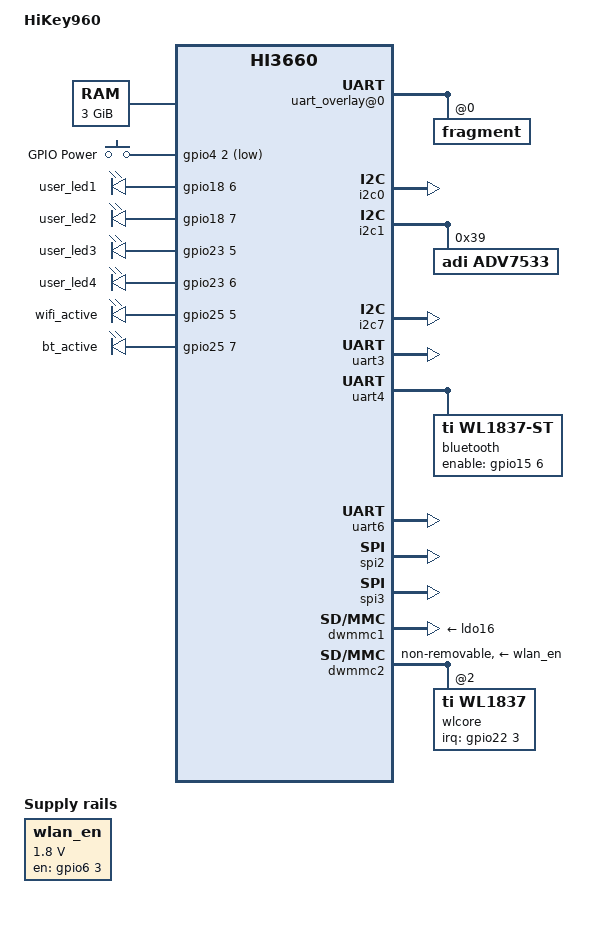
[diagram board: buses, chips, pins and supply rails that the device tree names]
/*
 * dts file for Hisilicon HiKey960 Development Board
 *
 * Copyright (C) 2016, Hisilicon Ltd.
 *
 */

/*
 *
 * Modifications made by Cadence Design Systems, Inc.  06/21/2017
 * Copyright (C) 2017 Cadence Design Systems, Inc.All rights reserved worldwide.
 *
 */

/dts-v1/;

#include "hi3660.dtsi"
#include "hikey960-pinctrl.dtsi"
#include "hi3660-gpu.dtsi"
#include "hisi_3660_ipc.dtsi"

#include <dt-bindings/gpio/gpio.h>
#include <dt-bindings/input/input.h>
#include <dt-bindings/interrupt-controller/irq.h>
#include "hi3660-drm.dtsi"
#include "hi3660-ion.dtsi"

/ {
	model = "HiKey960";
	compatible = "hisilicon,hi3660-hikey960", "hisilicon,hi3660";

	aliases {
		mshc1 = &dwmmc1;
		mshc2 = &dwmmc2;
		serial0 = &uart0;
		serial1 = &uart1;
		serial2 = &uart2;
		serial3 = &uart3;
		serial4 = &uart4;
		serial5 = &uart5;
		serial6 = &uart6;
	};

	chosen {
		stdout-path = "serial6:115200n8";
	};

	fiq-debugger {
		compatible = "android,irq-hi6220-uart";
		reg = <0x0 0xfff32000 0x0 0x1000>;
		interrupts = <GIC_SPI 79 IRQ_TYPE_LEVEL_HIGH>;
		interrupt-names = "fiq", "signal";
	};

	uart_overlay@0 {
		fragment@0 {
			target-path="/soc/serial@fff32000";
			__overlay__ {
				status = "disabled";
			};
		};
	};

	overlay_mgr {
		compatible = "linux,overlay_manager";
		hardware_cfg_spidev0 {
			overlay_0 {
				fragment@0 {
					target-path="/soc/spi@ffd68000/spidev@0";
					__overlay__ {
						status = "ok";
					};
				};
			};
		};
		hardware_cfg_neonkey {
			overlay_0 {
				fragment@0 {
					target-path="/soc/spi@ffd68000/sensorhub@0";
					__overlay__ {
						status = "ok";
					};
				};
			};
		};
		hardware_cfg_argonkey {
			overlay_0 {
				fragment@0 {
					target-path="/soc/spi@ffd68000/argonkey@0";
					__overlay__ {
						status = "ok";
					};
				};
			};
		};
		hardware_cfg_disable_bt {
			overlay_0 {
				fragment@0 {
					target-path="/soc/serial@fdf01000/bluetooth";
					__overlay__ {
						status = "disabled";
					};
				};
			};
		};
	};

	memory@0 {
		device_type = "memory";
		reg = <0x0 0x00400000 0x0 0xBFE00000>;
	};

	reserved-memory {
		#address-cells = <2>;
		#size-cells = <2>;
		ranges;

		fastboot_cma: fastboot-cma-mem {
			reg = <0x0 0x16c00000 0x0 0x4000000>;
			compatible = "shared-dma-pool";
			hisi,cma-sec;
			reusable;
		};

		uefi-reboot-mode {
			reg = <0x0 0x32100000 0x0 0x00001000>;
			no-map;
		};

		bl31 {
			reg = <0x0 0x20200000 0x0 0x200000>;
			no-map;
		};

		ramoops: ramoops@20A00000 {
			compatible = "ramoops";
			reg = <0x0 0x20A00000 0x0 0x00100000>;  /* pstore/ramoops buffer */
			record-size	= <0x00020000>;
			console-size	= <0x00020000>;
			ftrace-size	= <0x00020000>;
		};

		hifi-base {
			reg = <0x0 0x89200000 0x0 0x980000>;
			no-map;
		};

		lpmx-core {
			reg = <0x0 0x89b80000 0x0 0x100000>;
			no-map;
		};

		lpmcu {
			reg = <0x0 0x89c80000 0x0 0x40000>;
			no-map;
		};

		hifi-data {
			reg = <0x0 0x8B300000 0x0 0x380000>;
			no-map;
		};
	};

	reboot-mode-syscon@32100000 {
		compatible = "syscon", "simple-mfd";
		reg = <0x0 0x32100000 0x0 0x00001000>;

		reboot-mode {
			compatible = "syscon-reboot-mode";
			offset = <0x0>;

			mode-normal	= <0x77665501>;
			mode-bootloader	= <0x77665500>;
			mode-recovery	= <0x77665502>;
		};
	};


	pclk: apb_pclk {
		compatible = "fixed-clock";
		#clock-cells = <0>;
		clock-frequency = <20000000>;
		clock-output-names = "apb_pclk";
	};

	hifidsp {
		compatible = "hisilicon,k3hifidsp";
	};

	keys {
		compatible = "gpio-keys";
		pinctrl-names = "default";
		pinctrl-0 = <&pwr_key_pmx_func &pwr_key_cfg_func>;

		power {
			wakeup-source;
			gpios = <&gpio4 2 GPIO_ACTIVE_LOW>;
			label = "GPIO Power";
			linux,code = <KEY_POWER>;
		};
	};

	leds {
		compatible = "gpio-leds";

		user_led1 {
			label = "user_led1";
			/* gpio_150_user_led1 */
			gpios = <&gpio18 6 0>;
			linux,default-trigger = "heartbeat";
		};

		user_led2 {
			label = "user_led2";
			/* gpio_151_user_led2 */
			gpios = <&gpio18 7 0>;
			linux,default-trigger = "mmc0";
		};

		user_led3 {
			label = "user_led3";
			/* gpio_189_user_led3 */
			gpios = <&gpio23 5 0>;
			default-state = "off";
		};

		user_led4 {
			label = "user_led4";
			/* gpio_190_user_led4 */
			gpios = <&gpio23 6 0>;
			linux,default-trigger = "cpu0";
		};

		wlan_active_led {
			label = "wifi_active";
			/* gpio_205_wifi_active */
			gpios = <&gpio25 5 0>;
			linux,default-trigger = "phy0tx";
			default-state = "off";
		};

		bt_active_led {
			label = "bt_active";
			gpios = <&gpio25 7 0>;
			/* gpio_207_user_led1 */
			linux,default-trigger = "hci0rx";
			default-state = "off";
		};
	};

	pmic: pmic@fff34000 {
		compatible = "hisilicon,hi6421v530-pmic";
		reg = <0x0 0xfff34000 0x0 0x1000>;
		interrupt-controller;
		#interrupt-cells = <2>;

		regulators {
			ldo3: LDO3 { /* HDMI */
				regulator-name = "VOUT3_1V85";
				regulator-min-microvolt = <1800000>;
				regulator-max-microvolt = <2200000>;
				regulator-always-on;
				regulator-enable-ramp-delay = <120>;
			};

			ldo9: LDO9 { /* SDCARD I/O */
				regulator-name = "VOUT9_1V8_2V95";
				regulator-min-microvolt = <1750000>;
				regulator-max-microvolt = <3300000>;
				regulator-enable-ramp-delay = <240>;
			};

			ldo11: LDO11 { /* Low Speed Connector */
				regulator-name = "VOUT11_1V8_2V95";
				regulator-min-microvolt = <1750000>;
				regulator-max-microvolt = <3300000>;
				regulator-enable-ramp-delay = <240>;
			};

			ldo15: LDO15 { /* UFS VCC */
				regulator-name = "VOUT15_3V0";
				regulator-min-microvolt = <1750000>;
				regulator-max-microvolt = <3000000>;
				regulator-boot-on;
				regulator-always-on;
				regulator-enable-ramp-delay = <120>;
			};

			ldo16: LDO16 { /* SD VDD */
				regulator-name = "VOUT16_2V95";
				regulator-min-microvolt = <1750000>;
				regulator-max-microvolt = <3000000>;
				regulator-enable-ramp-delay = <360>;
			};
		};
	};

	wlan_en: wlan-en-1-8v {
		compatible = "regulator-fixed";
		regulator-name = "wlan-en-regulator";
		regulator-min-microvolt = <1800000>;
		regulator-max-microvolt = <1800000>;

		/* GPIO_051_WIFI_EN */
		gpio = <&gpio6 3 0>;

		/* WLAN card specific delay */
		startup-delay-us = <70000>;
		enable-active-high;
	};

	smmu {
		compatible = "hisi,hisi-smmu";
		phy_pgd_base = <0x0 0x34A78000>;
	};

	smmu_lpae {
		compatible = "hisi,hisi-smmu-lpae";
		status = "ok";
	};

	/* bluetooth - TI WL1837 */
	kim {
		compatible = "kim";
		/*
		 * FIXME: The following is complete CRAP since
		 * the vendor driver doesn't follow the gpio
		 * binding. Passing in a magic Linux gpio number
		 * here until we fix the vendor driver.
		 */
		/* BT_EN: GPIO_126_BT_EN */
		nshutdown_gpio = <390>;
		dev_name = "/dev/ttyAMA4";
		flow_cntrl = <1>;
		/* baud_rate = <3000000>; */
		/* baud_rate = <230400>; ok */
		baud_rate = <921600>;
		/* baud_rate = <1500000>; nok */
	};

	btwilink {
		compatible = "btwilink";
	};

	firmware {
		optee {
			compatible = "linaro,optee-tz";
			method = "smc";
		};
	};
};

&i2c0 {
	/* On Low speed expansion */
	label = "LS-I2C0";
	status = "okay";
};

&i2c1 {
	status = "okay";

	adv7533: adv7533@39 {
		status = "ok";
		compatible = "adi,adv7533";
		reg = <0x39>;
	};
};

&i2c7 {
	/* On Low speed expansion */
	label = "LS-I2C1";
	status = "okay";
};

&uart3 {
	/* On Low speed expansion */
	label = "LS-UART0";
	status = "okay";
};

&uart4 {
	status = "okay";

	bluetooth {
		compatible = "ti,wl1837-st";
		enable-gpios = <&gpio15 6 GPIO_ACTIVE_HIGH>;
		max-speed = <921600>;
	};
};

&uart6 {
	/* On Low speed expansion */
	label = "LS-UART1";
	status = "okay";
};

&spi2 {
	/* On Low speed expansion */
	label = "LS-SPI0";
	status = "okay";

	spidev@0 {
		compatible = "rohm,dh2228fv";
		spi-max-frequency = <500000>;
		reg = <0>;
		status = "disabled";
	};

	sensorhub@0 {
		compatible = "nanohub";
		reg = <0>;
		spi-max-frequency = <500000>;
		spi-cpol;
		spi-cpha;

		sensorhub,nreset-gpio = <&gpio26 3 0>; /* Fake */
		sensorhub,boot0-gpio = <&gpio26 2 0>;  /* Fake */
		sensorhub,wakeup-gpio = <&gpio26 0 0>; /* Gpio_208 -> PB9 */
		sensorhub,irq1-gpio = <&gpio26 1 0>;   /* Gpio_209 -> PB5 */
		sensorhub,spi-cs-gpio = <&gpio27 2 0>;
		sensorhub,bl-addr = <0x08000000>;
		sensorhub,kernel-addr = <0x0800C000>;
		sensorhub,num-flash-banks = <4>;
		sensorhub,flash-banks =		<0 0x08000000 0x04000>,
						<3 0x0800C000 0x04000>,
						<4 0x08010000 0x10000>,
						<5 0x08020000 0x20000>;
		sensorhub,shared-addr = <0x08040000>;
		sensorhub,num-shared-flash-banks = <2>;
		sensorhub,shared-flash-banks =	<6 0x08040000 0x20000>,
						<7 0x08060000 0x20000>;

		status = "disabled";
	};

	argonkey@0 {
		compatible = "nanohub";
		reg = <0>;
		spi-max-frequency = <500000>;

		sensorhub,irq1-gpio = <&gpio26 0 0>;   /* Gpio_208 -> PA1 */
		sensorhub,irq2-gpio = <&gpio6 4 0>;    /* Gpio_052 -> PA3 */
		sensorhub,wakeup-gpio = <&gpio2 3 0>;  /* Gpio_019 -> PA0 */
		sensorhub,spi-cs-gpio = <&gpio27 2 0>; /* Gpio_218 */
		sensorhub,nreset-gpio = <&gpio26 3 0>; /* Gpio_211 -> Nreset */
		sensorhub,boot0-gpio = <&gpio5 0 0>;   /* Gpio_040 -> Boot0 */
		sensorhub,bl-addr = <0x08000000>;
		sensorhub,kernel-addr = <0x0800C000>;
		sensorhub,num-flash-banks = <4>;
		sensorhub,flash-banks =
			<0 0x08000000 0x04000>,
			<3 0x0800C000 0x04000>,
			<4 0x08010000 0x10000>,
			<5 0x08020000 0x20000>;
		sensorhub,shared-addr = <0x08040000>;
		sensorhub,num-shared-flash-banks = <6>;
		sensorhub,shared-flash-banks =
			<6 0x08040000 0x20000>,
			<7 0x08060000 0x20000>,
			<8 0x08080000 0x20000>,
			<9 0x080A0000 0x20000>,
			<10 0x080C0000 0x20000>,
			<11 0x080E0000 0x20000>;

		status = "disabled";
	};
};

&spi3 {
	/* On High speed expansion */
	label = "HS-SPI1";
	status = "okay";
};

&dwmmc1 {
	vmmc-supply = <&ldo16>;
	vqmmc-supply = <&ldo9>;
	status = "okay";
};

&dwmmc2 { /* WIFI */
	broken-cd;
	/* WL_EN */
	vmmc-supply = <&wlan_en>;
	ti,non-removable;
	non-removable;
	#address-cells = <0x1>;
	#size-cells = <0x0>;
	status = "ok";

	wlcore: wlcore@2 {
		compatible = "ti,wl1837";
		reg = <2>;      /* sdio func num */
		/* WL_IRQ, GPIO_179_WL_WAKEUP_AP */
		interrupt-parent = <&gpio22>;
		interrupts = <3 IRQ_TYPE_EDGE_RISING>;
	};
};
